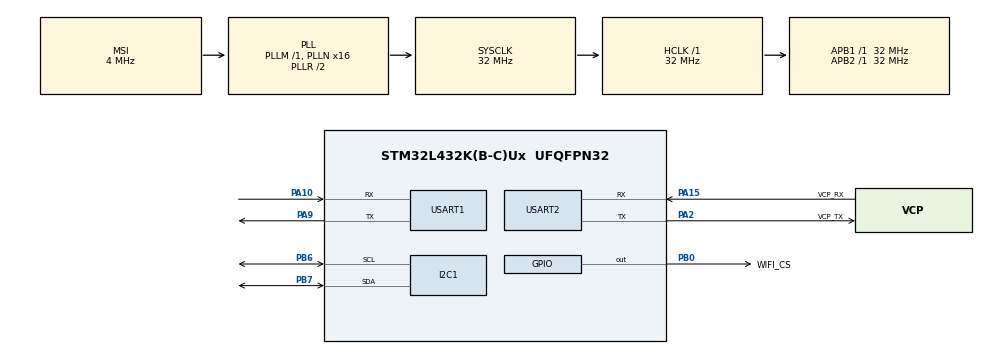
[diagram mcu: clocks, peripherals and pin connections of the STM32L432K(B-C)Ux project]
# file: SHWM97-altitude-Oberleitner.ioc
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FREERTOS.Queues01=data_queue,16,message,0,Dynamic,NULL,NULL
FREERTOS.Tasks01=alt_mon_task,24,4000,altitude_monitor_task_func,Default,NULL,Static,defaultTaskBuffer,defaultTaskControlBlock;data_task,24,1000,data_task_func,Default,NULL,Static,data_taskBuffer,data_taskControlBlock;wifi_mon_task,24,1000,wifi_monitor_task_func,Default,NULL,Static,wifi_monitor_taBuffer,wifi_monitor_taControlBlock;sender_task,24,1000,sender_task_func,Default,NULL,Static,sender_taskBuffer,sender_taskControlBlock
FREERTOS.configTOTAL_HEAP_SIZE=25000
FREERTOS.configUSE_NEWLIB_REENTRANT=1
I2C1.Timing=0x00707CBB
Mcu.Family=STM32L4
Mcu.Name=STM32L432K(B-C)Ux
Mcu.Package=UFQFPN32
NVIC.I2C1_ER_IRQn=true\:5\:0\:false\:false\:true\:true\:true\:true\:true
NVIC.I2C1_EV_IRQn=true\:5\:0\:false\:false\:true\:true\:true\:true\:true
NVIC.PriorityGroup=NVIC_PRIORITYGROUP_4
NVIC.TIM6_DAC_IRQn=true\:15\:0\:false\:false\:true\:false\:false\:true\:true
NVIC.TimeBase=TIM6_DAC_IRQn
NVIC.TimeBaseIP=TIM6
NVIC.USART1_IRQn=true\:5\:0\:false\:false\:true\:true\:true\:true\:true
PA0.GPIO_Label=MCO [High speed clock in]
PA0.Mode=HSE-External-Clock-Source-for-LittleOrca
PA0.Signal=RCC_CK_IN
PA10.Mode=Asynchronous
PA10.Signal=USART1_RX
PA13\ (JTMS-SWDIO).GPIO_Label=SWDIO
PA13\ (JTMS-SWDIO).Mode=Serial_Wire
PA13\ (JTMS-SWDIO).Signal=SYS_JTMS-SWDIO
PA14\ (JTCK-SWCLK).GPIO_Label=SWCLK
PA14\ (JTCK-SWCLK).Mode=Serial_Wire
PA14\ (JTCK-SWCLK).Signal=SYS_JTCK-SWCLK
PA15\ (JTDI).GPIO_Label=VCP_RX
PA15\ (JTDI).Mode=Asynchronous
PA15\ (JTDI).Signal=USART2_RX
PA2.GPIO_Label=VCP_TX
PA2.Mode=Asynchronous
PA2.Signal=USART2_TX
PA9.Mode=Asynchronous
PA9.Signal=USART1_TX
PB0.GPIO_Label=WIFI_CS
PB0.PinState=GPIO_PIN_SET
PB0.Signal=GPIO_Output
PB6.Mode=I2C
PB6.Signal=I2C1_SCL
PB7.Mode=I2C
PB7.Signal=I2C1_SDA
PC14-OSC32_IN\ (PC14).Mode=LSE-External-Oscillator
PC14-OSC32_IN\ (PC14).Signal=RCC_OSC32_IN
PC15-OSC32_OUT\ (PC15).Mode=LSE-External-Oscillator
PC15-OSC32_OUT\ (PC15).Signal=RCC_OSC32_OUT
ProjectManager.HeapSize=0x200
ProjectManager.StackSize=0x400
ProjectManager.TargetToolchain=STM32CubeIDE
RCC.AHBFreq_Value=32000000
RCC.APB1Freq_Value=32000000
RCC.APB1TimFreq_Value=32000000
RCC.APB2Freq_Value=32000000
RCC.APB2TimFreq_Value=32000000
RCC.CortexFreq_Value=32000000
RCC.HCLKFreq_Value=32000000
RCC.HSE_VALUE=8000000
RCC.HSI16_VALUE=16000000
RCC.HSI48_VALUE=48000000
RCC.HSI_VALUE=16000000
RCC.MSI_VALUE=4000000
RCC.PLLMUL=RCC_PLLMUL_4
RCC.PLLN=16
RCC.SYSCLKFreq_VALUE=32000000
RCC.SYSCLKSource=RCC_SYSCLKSOURCE_PLLCLK
RCC.VCOOutputFreq_Value=64000000
USART1.VirtualMode-Asynchronous=VM_ASYNC
USART2.VirtualMode-Asynchronous=VM_ASYNC
VP_FREERTOS_VS_CMSIS_V2.Mode=CMSIS_V2
VP_SYS_VS_tim6.Mode=TIM6
board=NUCLEO-L432KC

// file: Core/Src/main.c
/* USER CODE BEGIN Header */
/**
  ******************************************************************************
  * @file           : main.c
  * @brief          : Main program body
  ******************************************************************************
  * @attention
  *
  * Copyright (c) 2024 STMicroelectronics.
  * All rights reserved.
  *
  * This software is licensed under terms that can be found in the LICENSE file
  * in the root directory of this software component.
  * If no LICENSE file comes with this software, it is provided AS-IS.
  *
  ******************************************************************************
  */
/* USER CODE END Header */
#include "main.h"
#include "cmsis_os.h"
#include "i2c.h"
#include "usart.h"
#include "gpio.h"

/* USER CODE BEGIN Includes */
#include <stdio.h>

/* USER CODE END Includes */

void SystemClock_Config(void);
void MX_FREERTOS_Init(void);

int main(void)
{

  /* MCU Configuration--------------------------------------------------------*/

  /* Reset of all peripherals, Initializes the Flash interface and the Systick. */
  HAL_Init();

  /* Configure the system clock */
  SystemClock_Config();

  /* Initialize all configured peripherals */
  MX_GPIO_Init();
  MX_USART2_UART_Init();
  MX_I2C1_Init();
  MX_USART1_UART_Init();

  /* Init scheduler */
  osKernelInitialize();  /* Call init function for freertos objects (in freertos.c) */
  MX_FREERTOS_Init();

  /* Start scheduler */
  osKernelStart();

  /* We should never get here as control is now taken by the scheduler */
  /* Infinite loop */
  while (1)
  {

  }
}

void SystemClock_Config(void)
{
  RCC_OscInitTypeDef RCC_OscInitStruct = {0};
  RCC_ClkInitTypeDef RCC_ClkInitStruct = {0};

  /** Configure the main internal regulator output voltage
  */
  if (HAL_PWREx_ControlVoltageScaling(PWR_REGULATOR_VOLTAGE_SCALE1) != HAL_OK)
  {
    Error_Handler();
  }

  /** Configure LSE Drive Capability
  */
  HAL_PWR_EnableBkUpAccess();
  __HAL_RCC_LSEDRIVE_CONFIG(RCC_LSEDRIVE_LOW);

  /** Initializes the RCC Oscillators according to the specified parameters
  * in the RCC_OscInitTypeDef structure.
  */
  RCC_OscInitStruct.OscillatorType = RCC_OSCILLATORTYPE_LSE|RCC_OSCILLATORTYPE_MSI;
  RCC_OscInitStruct.LSEState = RCC_LSE_ON;
  RCC_OscInitStruct.MSIState = RCC_MSI_ON;
  RCC_OscInitStruct.MSICalibrationValue = 0;
  RCC_OscInitStruct.MSIClockRange = RCC_MSIRANGE_6;
  RCC_OscInitStruct.PLL.PLLState = RCC_PLL_ON;
  RCC_OscInitStruct.PLL.PLLSource = RCC_PLLSOURCE_MSI;
  RCC_OscInitStruct.PLL.PLLM = 1;
  RCC_OscInitStruct.PLL.PLLN = 16;
  RCC_OscInitStruct.PLL.PLLP = RCC_PLLP_DIV7;
  RCC_OscInitStruct.PLL.PLLQ = RCC_PLLQ_DIV2;
  RCC_OscInitStruct.PLL.PLLR = RCC_PLLR_DIV2;
  if (HAL_RCC_OscConfig(&RCC_OscInitStruct) != HAL_OK)
  {
    Error_Handler();
  }

  /** Initializes the CPU, AHB and APB buses clocks
  */
  RCC_ClkInitStruct.ClockType = RCC_CLOCKTYPE_HCLK|RCC_CLOCKTYPE_SYSCLK
                              |RCC_CLOCKTYPE_PCLK1|RCC_CLOCKTYPE_PCLK2;
  RCC_ClkInitStruct.SYSCLKSource = RCC_SYSCLKSOURCE_PLLCLK;
  RCC_ClkInitStruct.AHBCLKDivider = RCC_SYSCLK_DIV1;
  RCC_ClkInitStruct.APB1CLKDivider = RCC_HCLK_DIV1;
  RCC_ClkInitStruct.APB2CLKDivider = RCC_HCLK_DIV1;

  if (HAL_RCC_ClockConfig(&RCC_ClkInitStruct, FLASH_LATENCY_1) != HAL_OK)
  {
    Error_Handler();
  }

  /** Enable MSI Auto calibration
  */
  HAL_RCCEx_EnableMSIPLLMode();
}

void HAL_TIM_PeriodElapsedCallback(TIM_HandleTypeDef *htim)
{
  if (htim->Instance == TIM6) {
    HAL_IncTick();
  }
}

void Error_Handler(void)
{
  __disable_irq();
  while (1)
  {
  }
}

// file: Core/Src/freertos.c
/* USER CODE BEGIN Header */
/**
  ******************************************************************************
  * File Name          : freertos.c
  * Description        : Code for freertos applications
  ******************************************************************************
  * @attention
  *
  * Copyright (c) 2024 STMicroelectronics.
  * All rights reserved.
  *
  * This software is licensed under terms that can be found in the LICENSE file
  * in the root directory of this software component.
  * If no LICENSE file comes with this software, it is provided AS-IS.
  *
  ******************************************************************************
  */
/* USER CODE END Header */

#include "FreeRTOS.h"
#include "task.h"
#include "main.h"
#include "cmsis_os.h"

/* USER CODE BEGIN Includes */
#include "usart.h"
#include "i2c.h"
#include <stdbool.h>
#include <math.h>

#include "../custom_libraries/altitude_click/altitude.h"
#include "../custom_libraries/uart/uart.h"
#include "../custom_libraries/wifi/wifi.h"

/* USER CODE END Includes */

typedef StaticTask_t osStaticThreadDef_t;

/* USER CODE BEGIN PD */

#define DATA_DELAY 5000
#define POLLING_DELAY 5000
#define ALT_DELAY 10000
#define WIFI_WAIT 1000
#define ERROR_VALUE -3333

/* USER CODE END PD */

/* USER CODE BEGIN Variables */

extern uint8_t rxBuffer_uart_1[MAX_BUFFER_SIZE];
bool wifi_on = false;
bool no_tcp_connection = false;
uint8_t obtain_tcp_connection[] = "AT+CIPSTATE?\r\n";

/* USER CODE END Variables */
/* Definitions for alt_mon_task */
osThreadId_t alt_mon_taskHandle;
uint32_t defaultTaskBuffer[ 4000 ];
osStaticThreadDef_t defaultTaskControlBlock;
const osThreadAttr_t alt_mon_task_attributes = {
  .name = "alt_mon_task",
  .cb_mem = &defaultTaskControlBlock,
  .cb_size = sizeof(defaultTaskControlBlock),
  .stack_mem = &defaultTaskBuffer[0],
  .stack_size = sizeof(defaultTaskBuffer),
  .priority = (osPriority_t) osPriorityNormal,
};
/* Definitions for data_task */
osThreadId_t data_taskHandle;
uint32_t data_taskBuffer[ 1000 ];
osStaticThreadDef_t data_taskControlBlock;
const osThreadAttr_t data_task_attributes = {
  .name = "data_task",
  .cb_mem = &data_taskControlBlock,
  .cb_size = sizeof(data_taskControlBlock),
  .stack_mem = &data_taskBuffer[0],
  .stack_size = sizeof(data_taskBuffer),
  .priority = (osPriority_t) osPriorityNormal,
};
/* Definitions for wifi_mon_task */
osThreadId_t wifi_mon_taskHandle;
uint32_t wifi_monitor_taBuffer[ 1000 ];
osStaticThreadDef_t wifi_monitor_taControlBlock;
const osThreadAttr_t wifi_mon_task_attributes = {
  .name = "wifi_mon_task",
  .cb_mem = &wifi_monitor_taControlBlock,
  .cb_size = sizeof(wifi_monitor_taControlBlock),
  .stack_mem = &wifi_monitor_taBuffer[0],
  .stack_size = sizeof(wifi_monitor_taBuffer),
  .priority = (osPriority_t) osPriorityNormal,
};
/* Definitions for sender_task */
osThreadId_t sender_taskHandle;
uint32_t sender_taskBuffer[ 1000 ];
osStaticThreadDef_t sender_taskControlBlock;
const osThreadAttr_t sender_task_attributes = {
  .name = "sender_task",
  .cb_mem = &sender_taskControlBlock,
  .cb_size = sizeof(sender_taskControlBlock),
  .stack_mem = &sender_taskBuffer[0],
  .stack_size = sizeof(sender_taskBuffer),
  .priority = (osPriority_t) osPriorityNormal,
};
/* Definitions for data_queue */
osMessageQueueId_t data_queueHandle;
const osMessageQueueAttr_t data_queue_attributes = {
  .name = "data_queue"
};

void altitude_monitor_task_func(void *argument);
void data_task_func(void *argument);
void wifi_monitor_task_func(void *argument);
void sender_task_func(void *argument);

void MX_FREERTOS_Init(void); /* (MISRA C 2004 rule 8.1) */

void MX_FREERTOS_Init(void) {

  /* Create the queue(s) */
  /* creation of data_queue */
  data_queueHandle = osMessageQueueNew (16, sizeof(message), &data_queue_attributes);

  /* USER CODE BEGIN RTOS_QUEUES */

  if (data_queueHandle == NULL) {
	  printf("data_queue not created\n");
	  Error_Handler();
  }

  /* USER CODE END RTOS_QUEUES */

  /* Create the thread(s) */
  /* creation of alt_mon_task */
  alt_mon_taskHandle = osThreadNew(altitude_monitor_task_func, NULL, &alt_mon_task_attributes);

  /* creation of data_task */
  data_taskHandle = osThreadNew(data_task_func, NULL, &data_task_attributes);

  /* creation of wifi_mon_task */
  wifi_mon_taskHandle = osThreadNew(wifi_monitor_task_func, NULL, &wifi_mon_task_attributes);

  /* creation of sender_task */
  sender_taskHandle = osThreadNew(sender_task_func, NULL, &sender_task_attributes);

  /* USER CODE BEGIN RTOS_THREADS */

  if (alt_mon_taskHandle == NULL) {
  	printf("altitude monitoring task not created\n");
  	Error_Handler();
  }

  if (data_taskHandle == NULL) {
  	printf("data task not created\n");
  	Error_Handler();
  }

  if (wifi_mon_taskHandle == NULL) {
  	printf("wifi monitoring task not created\n");
  	Error_Handler();
  }

  if (sender_taskHandle == NULL) {
  	printf("sender task not created\n");
  	Error_Handler();
  }

  /* USER CODE END RTOS_THREADS */

}

/* USER CODE BEGIN Header_altitude_monitor_task_func */
/**
  * @brief  Monitoring task for Altitude Click.
  * @note	This task initializes the Altitude Click and performs one
  * 		altitude read before staying in pressure mode.
  * 		It then checks the status (sysmod) periodically and will
  * 		restart the initialization, if the device is not active.
  * @param  argument: Not used
  * @retval None
  */
/* USER CODE END Header_altitude_monitor_task_func */
void altitude_monitor_task_func(void *argument)
{
  /* USER CODE BEGIN altitude_monitor_task_func */
	uint8_t sysmod = 0;

  /* Infinite loop */

	for (;;) {
		if (sysmod == 0) {
			printf("altitude setup \n");

			if (calibration(&hi2c1) != HAL_OK) {
				continue;
			}
			if (altitude_read(&hi2c1, data_queueHandle) != HAL_OK) {
				continue;
			}
		}
		// check altitude click status (0 = not active)
		osDelay(ALT_DELAY);
		HAL_I2C_Mem_Read(&hi2c1, 0xC0, 0x11, 1, &sysmod, 1, HAL_MAX_DELAY);
	}

  /* USER CODE END altitude_monitor_task_func */
}

/* USER CODE BEGIN Header_data_task_func */
/**
* @brief 	Task reads from Altitude Click and sends the data to
* 			sender task via message queue.
* @note		Task will wait for WIFI Click to be started.
* 			It is set to polling every 5 seconds (POLLING_DELAY).
* 			Each read gets pressure and temperature value.
* @param argument: Not used
* @retval None
*/
/* USER CODE END Header_data_task_func */
void data_task_func(void *argument)
{
  /* USER CODE BEGIN data_task_func */
	uint8_t low_byte, high_byte, higher_byte;
	uint8_t temp_msb, temp_lsb;
	uint8_t sysmod = 0;
	float pressure = 0;
	float temp = 0;

	/* Infinite loop */
	while (wifi_on == false) {
		osDelay(DATA_DELAY);

	}
	for (;;) {
		osDelay(POLLING_DELAY);
		HAL_I2C_Mem_Read(&hi2c1, 0xC0, 0x11, 1, &sysmod, 1, HAL_MAX_DELAY);
		if (sysmod == 1) {

			if (read_data(&hi2c1, &low_byte, &high_byte, &higher_byte,
					&temp_lsb, &temp_msb) == HAL_OK) {
				pressure = calculate_pressure(low_byte, high_byte, higher_byte);
				temp = calculate_temperature(temp_lsb, temp_msb);
			} else {
				pressure = ERROR_VALUE;
				temp = ERROR_VALUE;
			}

			data_in_queue("TP", temp, data_queueHandle);
			data_in_queue("P", pressure, data_queueHandle);
		}
	}
  /* USER CODE END data_task_func */
}

/* USER CODE BEGIN Header_wifi_monitor_task_func */
/**
* @brief 	Task starts WIFI Click and monitors it.
* @note 	Task will start initialization of WIFI Click and
* 			TCP connection to base station. Once a
* 			connection is established, it will be checked periodically.
* 			If connection is over, WIFI Click will reinitialize.
* @param argument: Not used
* @retval None
*/
/* USER CODE END Header_wifi_monitor_task_func */
void wifi_monitor_task_func(void *argument)
{
  /* USER CODE BEGIN wifi_monitor_task_func */
	bool success_check = false;
	uint8_t i;
  /* Infinite loop */
#ifdef NO_WIFI
	wifi_on = true;
#endif
	for (;;) {

#ifndef NO_WIFI
		wifi_on = wifi_init();
		if (!wifi_on) {
			continue;
		}

		for (;;) {
			i = 0;
			do {
				success_check = wifi_init_stage_and_TCP_check(
						obtain_tcp_connection);
				i++;
			} while (!success_check && i < RETRY);
			if (no_tcp_connection || i == RETRY) {
				no_tcp_connection = false;
				break;
			}
			osDelay(2 * WIFI_DELAY);
		}
#endif
	}

  /* USER CODE END wifi_monitor_task_func */
}

/* USER CODE BEGIN Header_sender_task_func */
/**
* @brief 	Sender task gets data from sensor and sends TCP message.
* @note 	This task waits for a message struct in the message queue.
* 			It then builds the TCP message and sends it to the
* 			base station.
* 			Sending will be retried if unsuccesful, but
* 			only 5 (RETRY/2) times. Since the program polls
* 			every 5 seconds, single values are not so important
* 			and will be discarded so as not to block the task.
* @param argument: Not used
* @retval None
*/
/* USER CODE END Header_sender_task_func */
void sender_task_func(void *argument)
{
  /* USER CODE BEGIN sender_task_func */
	message received;
	char sendmsg[MESSAGE_LEN];
	HAL_StatusTypeDef TCP_success;
	uint8_t i;
	/* Infinite loop */
	for (;;) {
		if (wifi_on == true) {
			if (osMessageQueueGet(data_queueHandle, &received, NULL,
					osWaitForever) == osOK) {
				build_message(received, sendmsg);

				i = 0;
#ifndef NO_WIFI
			do {
				TCP_success = send_TCP_command(sendmsg);
				i++;
			} while (TCP_success != HAL_OK && i < RETRY/2);
#endif
			}
		} else {
			osDelay(WIFI_WAIT);
		}
	}
  /* USER CODE END sender_task_func */
}
